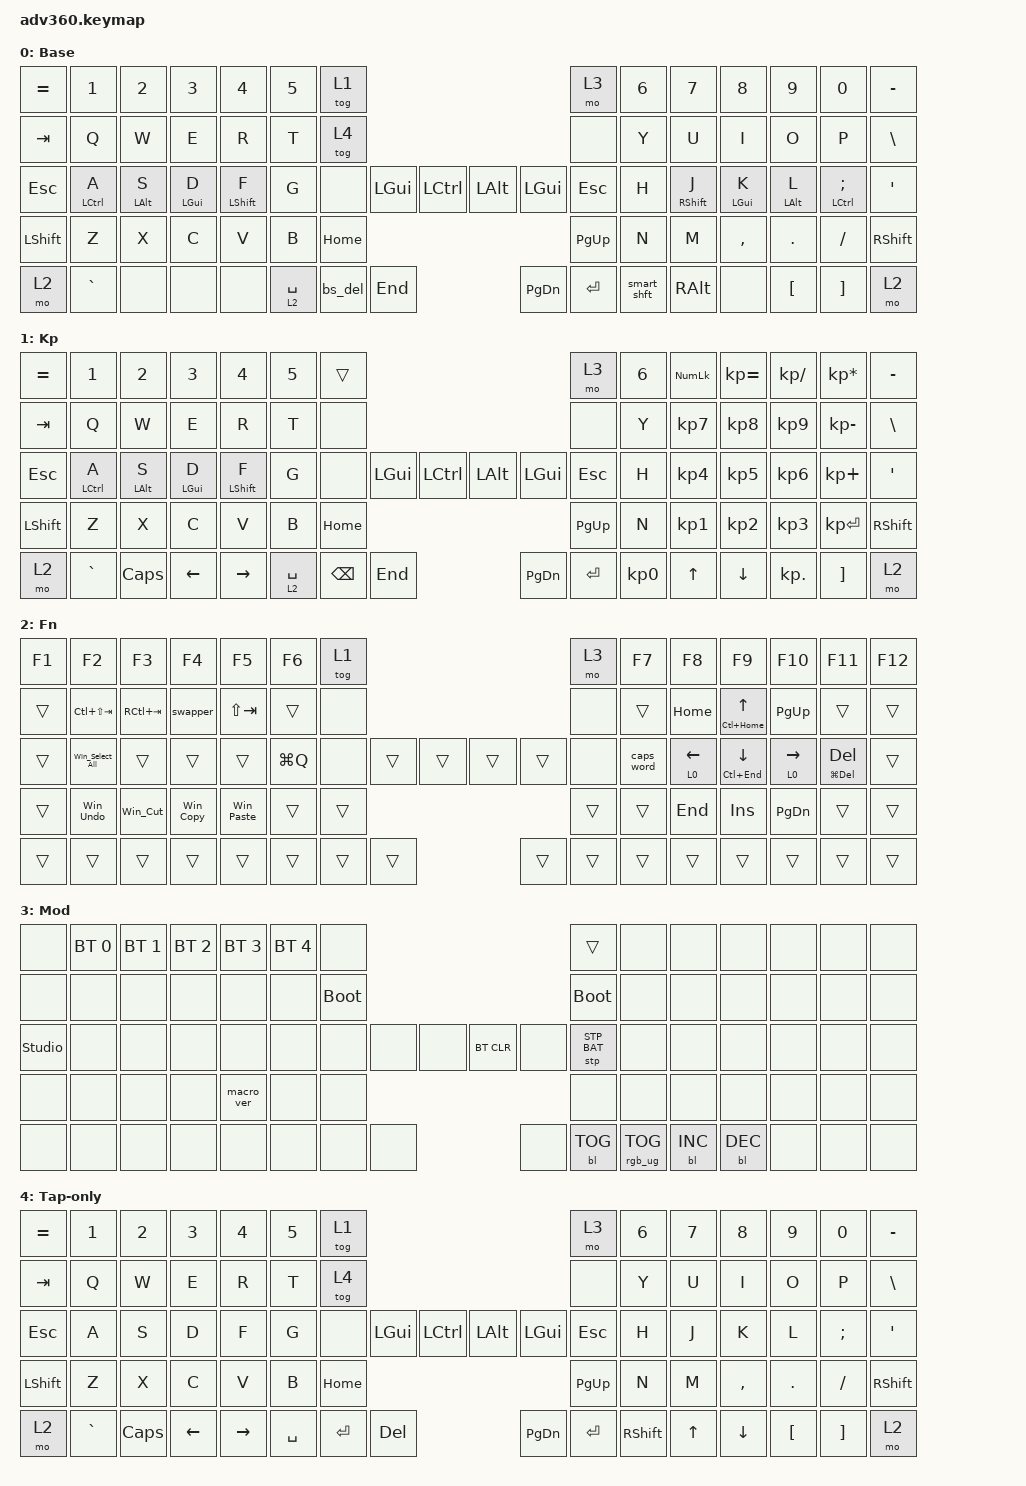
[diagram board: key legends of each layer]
#include <behaviors.dtsi>
#include <behaviors/num_word.dtsi> // Requires auto-layer module.
#include <dt-bindings/zmk/keys.h>
#include <dt-bindings/zmk/bt.h>
#include <dt-bindings/zmk/rgb.h>
#include <dt-bindings/zmk/stp.h>
#include <dt-bindings/zmk/backlight.h>
#include <dt-bindings/zmk/pointing.h>

#include "zmk-helpers/helper.h"

#define L00  0  // left-first row
#define L01  1
#define L02  2
#define L03  3
#define L04  4
#define L05  5
#define L06  6

#define R00  7  // right-first row
#define R01  8
#define R02  9
#define R03 10
#define R04 11
#define R05 12
#define R06 13

#define L10 14  // left-second row
#define L11 15
#define L12 16
#define L13 17
#define L14 18
#define L15 19
#define L16 20

#define R10 21  // right-second row
#define R11 22
#define R12 23
#define R13 24
#define R14 25
#define R15 26
#define R16 27

#define L20 28  // left-third row
#define L21 29
#define L22 30
#define L23 31
#define L24 32
#define L25 33
#define L26 34

#define R20 39  // right-third row
#define R21 40
#define R22 41
#define R23 42
#define R24 43
#define R25 44
#define R26 45

#define L30 46  // left-fourth row
#define L31 47
#define L32 48
#define L33 49
#define L34 50
#define L35 51

#define R30 54  // right-fourth row
#define R31 55
#define R32 56
#define R33 57
#define R34 58
#define R35 59

#define L40 60  // left-fifth row
#define L41 61
#define L42 62
#define L43 63
#define L44 64

#define R40 71  // right-fifth row
#define R41 72
#define R42 73
#define R43 74
#define R44 75

#define LT00 35  // left thumb keys
#define LT01 36
#define LT10 52
#define LT20 65
#define LT21 66
#define LT22 67


#define RT00 37  // right thumb keys
#define RT01 38
#define RT10 53
#define RT20 68
#define RT21 69
#define RT22 70

#define KEYS_L  L00  L01  L02  L03  L04  L05  L06 \
                L10  L11  L12  L13  L14  L15  L16 \
                L20  L21  L22  L23  L24  L25  L26 \
                L30  L31  L32  L33  L34  L35      \
                L40  L41  L42  L43  L44

#define THUMBS_LEFT      LT00 LT00 \
                              LT10 \
                    LT20 LT21 LT22 \

#define KEYS_R  R00  R01  R02  R03  R04  R05  R06 \
                R10  R11  R12  R13  R14  R15  R16 \
                R20  R21  R22  R23  R24  R25  R26 \
                R30  R31  R32  R33  R34  R35      \
                R40  R41  R42  R43  R44

#define THUMBS_RIGHT     RT00 RT00 \
                              RT10 \
                    RT20 RT21 RT22 \

#define QUICK_TAP_MS 175

#define TAB_RT RC(TAB)
#define TAB_LT LC(LS(TAB))

&sk {
  release-after-ms = <900>;
  quick-release;
};

&sl { // Allow sticky mods to chord across sticky layers.
  ignore-modifiers;
};

&lt {
  flavor = "balanced";
  tapping-term-ms = <200>;
  quick-tap-ms = <QUICK_TAP_MS>;
};

/* Homerow mods */

#define MAKE_HRM(NAME, HOLD, TAP, TRIGGER_POS)                                 \
  ZMK_HOLD_TAP(NAME, bindings = <HOLD>, <TAP>; flavor = "balanced";            \
               tapping-term-ms = <280>; quick-tap-ms = <QUICK_TAP_MS>;         \
               require-prior-idle-ms = <150>; hold-trigger-on-release;         \
               hold-trigger-key-positions = <TRIGGER_POS>;)

MAKE_HRM(hml, &kp, &kp, KEYS_R THUMBS_LEFT) // Left-hand HRMs.
MAKE_HRM(hmr, &kp, &kp, KEYS_L THUMBS_RIGHT) // Right-hand HRMs.

// Hack: Make HRM combos tap-only (cf, ZMK issue #544).
#define ZMK_COMBO_8(NAME, TAP, POS, LAYERS, COMBO_MS, IDLE_MS, HOLD, SIDE)     \
  MAKE_HRM(hm_combo_##NAME, &kp, TAP, SIDE THUMBS)                             \
  ZMK_COMBO_6(NAME, &hm_combo_##NAME HOLD 0, POS, LAYERS, COMBO_MS, IDLE_MS)

/* Nav cluster */

// Trigger tap-action on all interrupts.
#define MT_CORE                                                                \
  flavor = "tap-preferred";                                                    \
  tapping-term-ms = <220>;                                                     \
  quick-tap-ms = <220>;                                                        \
  hold-trigger-key-positions = <0>;

&mt { MT_CORE };

ZMK_HOLD_TAP(mt_home, bindings = <&masked_home>, <&kp>; MT_CORE)
ZMK_HOLD_TAP(mt_end, bindings = <&masked_end>, <&kp>; MT_CORE)

#define NAV_LEFT  &mt_home 0   LEFT  // Tap: left  | Long-tap: start of line.
#define NAV_RIGHT &mt_end 0    RIGHT // Tap: right | Long-tap: end   of line.
#define NAV_UP    &mt LC(HOME) UP    // Tap: up    | Long-tap: start of doc.
#define NAV_DOWN  &mt LC(END)  DOWN  // Tap: down  | Long-tap: end   of doc.
#define NAV_BSPC  &mt LG(BSPC) BSPC  // Tap: bspc  | Long-tap: delete word bwd.
#define NAV_DEL   &mt LG(DEL)  DEL   // Tap: del   | Long-tap: delete word fwd.

ZMK_HOLD_TAP(up_ralt, bindings = <&kp>, <&kp>; MT_CORE)
// Mask CTRL on left/right hold to avoid accidental jumps to start/end of doc.
#define MASK_MODS(NAME, MODS, BINDING)                                         \
  ZMK_MOD_MORPH(NAME, bindings = <BINDING>, <BINDING>; mods = <MODS>;)

MASK_MODS(masked_home, (MOD_LCTL), &kp HOME)
MASK_MODS(masked_end,  (MOD_LCTL), &kp END)

/* Caps-word & auto-layers */

// Tap: sticky-shift | Shift + tap/ double-tap: caps-word | Hold: shift.
ZMK_MOD_MORPH(smart_shft,
  bindings = <&sk LSHFT>, <&caps_word>;
  mods = <(MOD_LSFT)>;
)
&caps_word { // Mods deactivate caps-word, requires PR #1451. [TODO: rebase]
  /delete-property/ ignore-modifiers;
};

/* Custom behaviors */

// Alt+Tab swapper, requires tri-state module.
ZMK_TRI_STATE(swapper, bindings = <&kt LALT>, <&kp TAB>, <&kt LALT>;
              ignored-key-positions = <L44>;)

// Define mod-morph with a *single* mod trigger for less repetition.
#define SIMPLE_MORPH(NAME, MOD, BINDING1, BINDING2)                            \
  ZMK_MOD_MORPH(NAME, mods = <(MOD_L##MOD | MOD_R##MOD)>;                      \
                bindings = <BINDING1>, <BINDING2>;)

// Tap: space | Shift + tap: dot -> space -> sticky shift | Hold: nav layer.
/* ZMK_HOLD_TAP(lt_spc, bindings = <&mo>, <&spc_morph>; flavor = "balanced"; */
/*              tapping-term-ms = <200>; quick-tap-ms = <QUICK_TAP_MS>;) */
/* SIMPLE_MORPH(spc_morph, SFT, &kp SPACE, &dot_spc) */
/* ZMK_MACRO(dot_spc, bindings = <&kp DOT &kp SPACE &sk LSHFT>; wait-ms = <0>; */
/*           tap-ms = <5>;) */

// Tap: space | Hold: nav layer
ZMK_HOLD_TAP(lt_spc, bindings = <&mo>, <&kp>; flavor = "balanced"; 
              tapping-term-ms = <200>; quick-tap-ms = <QUICK_TAP_MS>;)

// Tap: backspace | Lshft + tap: delete | Rshft + tap: shift-delete.
ZMK_MOD_MORPH(bs_del, bindings = <&kp BSPC>, <&kp DEL>;
              mods = <(MOD_LSFT|MOD_RSFT)>; keep-mods = <MOD_RSFT>;)

// Tap: copy | double-tap: cut.
ZMK_TAP_DANCE(copy_cut, bindings = <&kp LC(INS)>, <&kp LC(X)>;
              tapping-term-ms = <200>;)

/ {
    behaviors {
      #include "macros.dtsi"
      #include "version.dtsi"

      hm: homerow_mods {
          compatible = "zmk,behavior-hold-tap";
          label = "HOMEROW_MODS";
          #binding-cells = <2>;
          tapping-term-ms = <200>;
          quick_tap_ms = <175>;
          flavor = "tap-preferred";
          bindings = <&kp>, <&kp>;
      };
    };

  keymap {
    compatible = "zmk,keymap";

    default_layer {
      display-name = "Base";
      bindings = <
        &kp EQUAL &kp N1    &kp N2   &kp N3   &kp N4     &kp N5 &tog 1                                                           &mo 3 &kp N6 &kp N7 &kp N8    &kp N9   &kp N0   &kp MINUS
        &kp TAB   &kp Q     &kp W    &kp E    &kp R      &kp T  &tog 4                                                           &none &kp Y  &kp U  &kp I     &kp O    &kp P    &kp BSLH
        &kp ESC   &hml LCTRL A   &hml LALT S   &hml LGUI D  &hml LSHFT F      &kp G  &none           &kp LGUI &kp LCTRL &kp LALT  &kp LGUI           &kp ESC &kp H  &hmr RSHFT J  &hmr LGUI K  &hmr LALT L   &hmr LCTRL SEMI &kp SQT
        &kp LSHFT &kp Z     &kp X    &kp C    &kp V      &kp B                            &kp HOME &kp PG_UP                           &kp N  &kp M  &kp COMMA &kp DOT  &kp FSLH &kp RSHFT
        &mo 2     &kp GRAVE &none  &none &none                  &lt_spc 2 SPC &bs_del   &kp END  &kp PG_DN &kp ENTER &smart_shft          &kp RALT &none  &kp LBKT &kp RBKT &mo 2
      >;
    };
    keypad {
      display-name = "Kp";
      bindings = <
        &kp EQUAL &kp N1    &kp N2   &kp N3   &kp N4     &kp N5 &trans                                                           &mo 3 &kp N6 &kp KP_NUM &kp KP_EQUAL &kp KP_DIVIDE &kp KP_MULTIPLY &kp MINUS
        &kp TAB   &kp Q     &kp W    &kp E    &kp R      &kp T  &none                                                            &none &kp Y  &kp KP_N7  &kp KP_N8    &kp KP_N9     &kp KP_MINUS    &kp BSLH
        &kp ESC   &hml LCTRL A   &hml LALT S   &hml LGUI D  &hml LSHFT F      &kp G  &none           &kp LGUI &kp LCTRL &kp LALT  &kp LGUI           &kp ESC &kp H  &kp KP_N4  &kp KP_N5    &kp KP_N6     &kp KP_PLUS     &kp SQT
        &kp LSHFT &kp Z     &kp X    &kp C    &kp V      &kp B                            &kp HOME &kp PG_UP                           &kp N  &kp KP_N1  &kp KP_N2    &kp KP_N3     &kp KP_ENTER    &kp RSHFT
      &mo 2     &kp GRAVE &kp CAPS &kp LEFT &kp RIGHT                &lt_spc 2 SPC &kp BSPC   &kp END  &kp PG_DN &kp ENTER &kp KP_N0              &kp UP     &kp DOWN     &kp KP_DOT    &kp RBKT        &mo 2
      >;
    };
    fn {
      display-name = "Fn";
      bindings = <
        &kp F1 &kp F2 &kp F3 &kp F4 &kp F5 &kp F6 &tog 1                                           &mo 3 &kp F7 &kp F8 &kp F9 &kp F10 &kp F11 &kp F12
        &trans &kp TAB_LT &kp TAB_RT &swapper &kp LS(TAB) &trans  &none                                           &none &trans &kp HOME NAV_UP &kp PG_UP  &trans  &trans
        &trans &Win_Select_All &trans &trans &trans &kp LG(Q)  &none        &trans &trans &trans &trans        &none &caps_word NAV_LEFT NAV_DOWN NAV_RIGHT  NAV_DEL  &trans
        &trans &Win_Undo &Win_Cut &Win_Copy &Win_Paste &trans                      &trans &trans                     &trans &kp END &kp INS &kp PG_DN  &trans  &trans
        &trans &trans &trans &trans &trans               &trans &trans &trans &trans &trans &trans              &trans &trans &trans  &trans  &trans
      >;
    };
    mod {
      display-name = "Mod";
      bindings = <
        &none &bt BT_SEL 0 &bt BT_SEL 1 &bt BT_SEL 2 &bt BT_SEL 3 &bt BT_SEL 4 &none                                                                     &trans                 &none        &none        &none        &none &none &none
        &none &none        &none        &none        &none        &none        &bootloader                                                               &bootloader            &none        &none        &none        &none &none &none
        &studio_unlock &none        &none        &none        &none        &none        &none                   &none &none &bt BT_CLR &none                      &stp STP_BAT &none        &none        &none        &none &none &none
        &none &none        &none        &none        &macro_ver   &none                                      &none &none                                                        &none        &none        &none        &none &none &none
        &none &none        &none        &none        &none                                       &none &none &none &none      &bl BL_TOG &rgb_ug RGB_TOG                                     &bl BL_INC   &bl BL_DEC   &none &none &none
      >;
    };
    tap_only {
      display-name = "Tap-only";
      bindings = <
        &kp EQUAL &kp N1    &kp N2   &kp N3   &kp N4     &kp N5 &tog 1                                                           &mo 3 &kp N6 &kp N7 &kp N8    &kp N9   &kp N0   &kp MINUS
        &kp TAB   &kp Q     &kp W    &kp E    &kp R      &kp T  &tog 4                                                           &none &kp Y  &kp U  &kp I     &kp O    &kp P    &kp BSLH
        &kp ESC   &kp A     &kp S    &kp D    &kp F      &kp G  &none           &kp LGUI &kp LCTRL &kp LALT  &kp LGUI          &kp ESC &kp H  &kp J  &kp K     &kp L    &kp SEMI &kp SQT
        &kp LSHFT &kp Z     &kp X    &kp C    &kp V      &kp B                            &kp HOME &kp PG_UP                           &kp N  &kp M  &kp COMMA &kp DOT  &kp FSLH &kp RSHFT
        &mo 2     &kp GRAVE &kp CAPS &kp LEFT &kp RIGHT                &kp SPC &kp ENTER  &kp DEL  &kp PG_DN &kp ENTER &kp RSHFT          &kp UP &kp DOWN  &kp LBKT &kp RBKT &mo 2
      >;
    };
    extra1 { 
      display-name = "Red";    
      status = "reserved";
    };

    extra2 { 
      display-name = "Purple";    
      status = "reserved";
    };

    extra3 { 
      display-name = "Cyan";    
      status = "reserved";
    };

    extra4 { 
      display-name = "Yellow";    
      status = "reserved";
    };
  };
};
